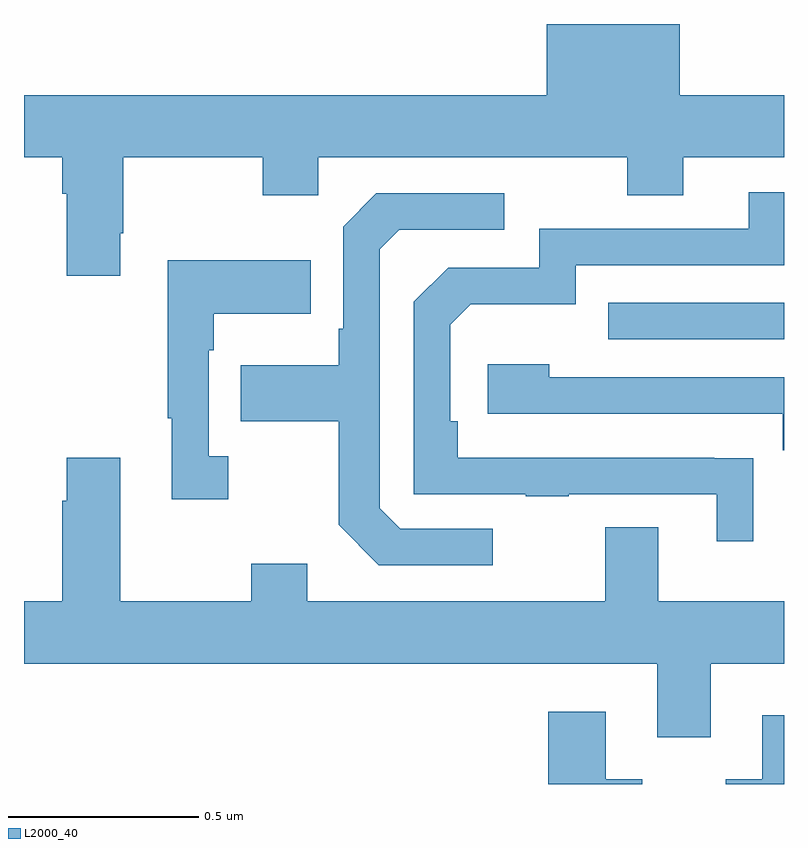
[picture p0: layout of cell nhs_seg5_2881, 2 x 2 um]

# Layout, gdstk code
import gdstk
lib = gdstk.Library(unit=1e-6, precision=1e-09)
def R(c, l, rs):  # rectangles x0, y0, x1, y1
    for r in rs: c.add(gdstk.rectangle(r[:2], r[2:], *l))
def P(c, l, *ps):  # polygons
    for p in ps: c.add(gdstk.Polygon(p, *l))
L2000_40 = (2000, 40)

nhs_seg5_2881 = lib.new_cell('nhs_seg5_2881')
R(nhs_seg5_2881, L2000_40, [(151.537,834.969,152,835.065)])
P(nhs_seg5_2881, L2000_40, [(150.253,835.249),(150.261,835.249),(150.261,835.448),(150.628,835.448),(150.628,835.349),(150.774,835.349),(150.774,835.448),(151.588,835.448),(151.588,835.349),(151.735,835.349),(151.735,835.448),(152,835.448),(152,835.612),(151.726,835.612),(151.726,835.799),(151.376,835.799),(151.376,835.612),(150,835.612),(150,835.448),(150.101,835.448),(150.101,835.352),(150.113,835.352),(150.113,835.137),(150.253,835.137)],
  [(151.919,834.656),(151.817,834.656),(151.817,834.657),(151.142,834.657),(151.142,834.754),(151.122,834.754),(151.122,835.008),(151.175,835.061),(151.452,835.061),(151.452,835.164),(152,835.164),(152,835.356),(151.907,835.356),(151.907,835.26),(151.356,835.26),(151.356,835.158),(151.116,835.158),(151.026,835.068),(151.026,834.561),(151.321,834.561),(151.321,834.556),(151.433,834.556),(151.433,834.561),(151.823,834.561),(151.823,834.438),(151.919,834.438)],
  [(151.234,834.471),(150.99,834.471),(150.936,834.525),(150.936,835.206),(150.987,835.257),(151.264,835.257),(151.264,835.353),(150.927,835.353),(150.84,835.266),(150.84,834.997),(150.828,834.997),(150.828,834.901),(150.571,834.901),(150.571,834.754),(150.828,834.754),(150.828,834.481),(150.933,834.375),(151.234,834.375)],
  [(150.538,834.662),(150.486,834.662),(150.486,834.941),(150.499,834.941),(150.499,835.037),(150.755,835.037),(150.755,835.177),(150.378,835.177),(150.378,834.761),(150.389,834.761),(150.389,834.549),(150.538,834.549)],
  [(152,834.87),(151.382,834.87),(151.382,834.904),(151.221,834.904),(151.221,834.774),(151.997,834.774),(151.997,834.677),(152,834.677)],
  [(151.807,834.116),(152,834.116),(152,834.28),(151.669,834.28),(151.669,834.475),(151.529,834.475),(151.529,834.28),(150.745,834.28),(150.745,834.379),(150.598,834.379),(150.598,834.28),(150.253,834.28),(150.253,834.658),(150.113,834.658),(150.113,834.545),(150.101,834.545),(150.101,834.28),(150,834.28),(150,834.116),(151.667,834.116),(151.667,833.922),(151.807,833.922)],
  [(152,833.98),(151.943,833.98),(151.943,833.812),(151.847,833.812),(151.847,833.799),(152,833.799)],
  [(151.531,833.812),(151.531,833.989),(151.379,833.989),(151.379,833.799),(151.627,833.799),(151.627,833.812)])

lib.write_gds('nhs_seg5_2881.gds')
